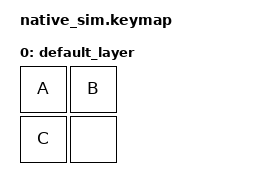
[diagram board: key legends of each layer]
#include <dt-bindings/zmk/keys.h>
#include <behaviors.dtsi>
#include <dt-bindings/zmk/input_matrix_mock.h>

/*
    combo 0 timeout inf
    combo 01 timeout inf
    combo 0123 timeout inf
    press 012 in any combination, release any of those keys
    expected: combo 012 on key-release
 */

/* it is useful to set timeout to a large value when attaching a debugger. */
#define TIMEOUT (60*60*1000)

/ {
    combos {
        compatible = "zmk,combos";
        combo_one {
            timeout-ms = <TIMEOUT>;
            key-positions = <0 1 2>;
            bindings = <&kp X>;
        };

        combo_two {
            timeout-ms = <TIMEOUT>;
            key-positions = <0 2>;
            bindings = <&kp Y>;
        };

        combo_three {
            timeout-ms = <TIMEOUT>;
            key-positions = <1>;
            bindings = <&kp Z>;
        };
    };

    keymap {
        compatible = "zmk,keymap";

        default_layer {
            bindings = <
                &kp A &kp B
                &kp C &none
            >;
        };
    };
};
&matrix {
    events = <
        /* all permutations of combo one press, combo triggered by release */
        /* while debugging these, you may want to set the release_timer to a high number */
        ZMK_MOCK_PRESS(0,0,10)
        ZMK_MOCK_PRESS(0,1,10)
        ZMK_MOCK_PRESS(0,2,10)
        ZMK_MOCK_RELEASE(0,0,10)
        ZMK_MOCK_RELEASE(0,1,10)
        ZMK_MOCK_RELEASE(0,2,10)

        ZMK_MOCK_PRESS(0,0,10)
        ZMK_MOCK_PRESS(0,2,10)
        ZMK_MOCK_PRESS(0,1,10)
        ZMK_MOCK_RELEASE(0,0,10)
        ZMK_MOCK_RELEASE(0,2,10)
        ZMK_MOCK_RELEASE(0,1,10)

        ZMK_MOCK_PRESS(0,1,10)
        ZMK_MOCK_PRESS(0,0,10)
        ZMK_MOCK_PRESS(0,2,10)
        ZMK_MOCK_RELEASE(0,1,10)
        ZMK_MOCK_RELEASE(0,0,10)
        ZMK_MOCK_RELEASE(0,2,10)

        ZMK_MOCK_PRESS(0,1,10)
        ZMK_MOCK_PRESS(0,2,10)
        ZMK_MOCK_PRESS(0,0,10)
        ZMK_MOCK_RELEASE(0,1,10)
        ZMK_MOCK_RELEASE(0,2,10)
        ZMK_MOCK_RELEASE(0,0,10)

        ZMK_MOCK_PRESS(0,2,10)
        ZMK_MOCK_PRESS(0,0,10)
        ZMK_MOCK_PRESS(0,1,10)
        ZMK_MOCK_RELEASE(0,2,10)
        ZMK_MOCK_RELEASE(0,0,10)
        ZMK_MOCK_RELEASE(0,1,10)

        ZMK_MOCK_PRESS(0,2,10)
        ZMK_MOCK_PRESS(0,1,10)
        ZMK_MOCK_PRESS(0,0,10)
        ZMK_MOCK_RELEASE(0,2,10)
        ZMK_MOCK_RELEASE(0,1,10)
        ZMK_MOCK_RELEASE(0,0,10)

        /* all permutations of combo two press and release, combo triggered by release */
        ZMK_MOCK_PRESS(0,0,10)
        ZMK_MOCK_PRESS(0,2,10)
        ZMK_MOCK_RELEASE(0,0,10)
        ZMK_MOCK_RELEASE(0,2,10)

        ZMK_MOCK_PRESS(0,2,10)
        ZMK_MOCK_PRESS(0,0,10)
        ZMK_MOCK_RELEASE(0,2,10)
        ZMK_MOCK_RELEASE(0,0,10)

        ZMK_MOCK_PRESS(0,2,10)
        ZMK_MOCK_PRESS(0,0,10)
        ZMK_MOCK_RELEASE(0,0,10)
        ZMK_MOCK_RELEASE(0,2,10)

        ZMK_MOCK_PRESS(0,0,10)
        ZMK_MOCK_PRESS(0,2,10)
        ZMK_MOCK_RELEASE(0,2,10)
        ZMK_MOCK_RELEASE(0,0,10)
    >;
};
